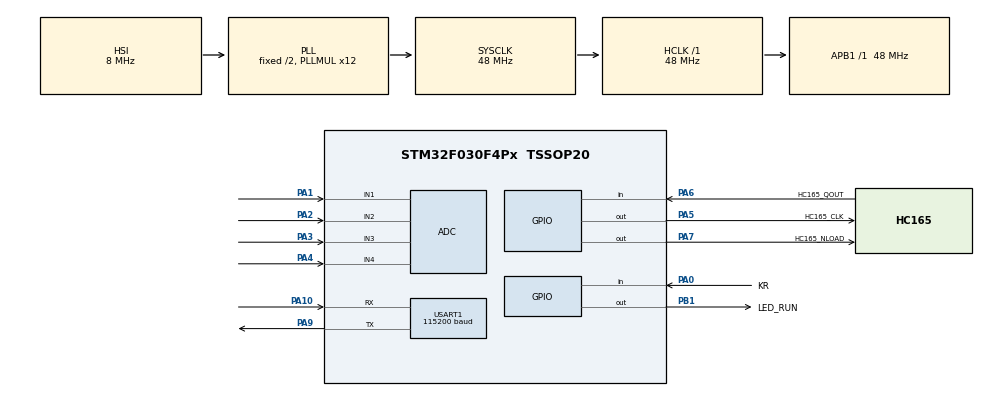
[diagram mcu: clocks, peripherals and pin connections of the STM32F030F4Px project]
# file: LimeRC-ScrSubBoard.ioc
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ADC.ContinuousConvMode=DISABLE
ADC.DMAContinuousRequests=ENABLE
ADC.EOCSelection=ADC_EOC_SEQ_CONV
ADC.SamplingTime=ADC_SAMPLETIME_239CYCLES_5
CRC.DefaultInitValueUse=DEFAULT_INIT_VALUE_DISABLE
CRC.InitValue=2023
Dma.ADC.1.Direction=DMA_PERIPH_TO_MEMORY
Dma.ADC.1.Instance=DMA1_Channel1
Dma.ADC.1.MemDataAlignment=DMA_MDATAALIGN_HALFWORD
Dma.ADC.1.MemInc=DMA_MINC_ENABLE
Dma.ADC.1.Mode=DMA_NORMAL
Dma.ADC.1.PeriphDataAlignment=DMA_PDATAALIGN_HALFWORD
Dma.ADC.1.PeriphInc=DMA_PINC_DISABLE
Dma.ADC.1.Priority=DMA_PRIORITY_HIGH
Dma.Request0=USART1_TX
Dma.Request1=ADC
Dma.USART1_TX.0.Direction=DMA_MEMORY_TO_PERIPH
Dma.USART1_TX.0.Instance=DMA1_Channel2
Dma.USART1_TX.0.MemDataAlignment=DMA_MDATAALIGN_BYTE
Dma.USART1_TX.0.MemInc=DMA_MINC_ENABLE
Dma.USART1_TX.0.Mode=DMA_NORMAL
Dma.USART1_TX.0.PeriphDataAlignment=DMA_PDATAALIGN_BYTE
Dma.USART1_TX.0.PeriphInc=DMA_PINC_DISABLE
Dma.USART1_TX.0.Priority=DMA_PRIORITY_LOW
Mcu.Family=STM32F0
Mcu.Name=STM32F030F4Px
Mcu.Package=TSSOP20
NVIC.DMA1_Channel1_IRQn=true\:2\:0\:true\:false\:true\:false\:true\:true
NVIC.DMA1_Channel2_3_IRQn=true\:0\:0\:false\:false\:true\:false\:true\:true
NVIC.USART1_IRQn=true\:1\:0\:true\:false\:true\:false\:true\:true
PA0.GPIO_Label=KR
PA0.GPIO_PuPd=GPIO_PULLUP
PA0.Signal=GPIO_Input
PA1.Mode=IN1
PA1.Signal=ADC_IN1
PA10.Mode=Asynchronous
PA10.Signal=USART1_RX
PA13.Mode=Serial_Wire
PA13.Signal=SYS_SWDIO
PA14.Mode=Serial_Wire
PA14.Signal=SYS_SWCLK
PA2.Mode=IN2
PA2.Signal=ADC_IN2
PA3.Mode=IN3
PA3.Signal=ADC_IN3
PA4.Mode=IN4
PA4.Signal=ADC_IN4
PA5.GPIO_Label=HC165_CLK
PA5.Signal=GPIO_Output
PA6.GPIO_Label=HC165_QOUT
PA6.GPIO_PuPd=GPIO_PULLDOWN
PA6.Signal=GPIO_Input
PA7.GPIO_Label=HC165_NLOAD
PA7.GPIO_Speed=GPIO_SPEED_FREQ_HIGH
PA7.PinState=GPIO_PIN_SET
PA7.Signal=GPIO_Output
PA9.Mode=Asynchronous
PA9.Signal=USART1_TX
PB1.GPIO_Label=LED_RUN
PB1.Signal=GPIO_Output
PF0-OSC_IN.Mode=HSE-External-Oscillator
PF0-OSC_IN.Signal=RCC_OSC_IN
PF1-OSC_OUT.Mode=HSE-External-Oscillator
PF1-OSC_OUT.Signal=RCC_OSC_OUT
ProjectManager.HeapSize=0x200
ProjectManager.StackSize=0x400
ProjectManager.TargetToolchain=MDK-ARM V5.32
RCC.AHBFreq_Value=48000000
RCC.APB1Freq_Value=48000000
RCC.APB1TimFreq_Value=48000000
RCC.HCLKFreq_Value=48000000
RCC.HSE_VALUE=25000000
RCC.PLLDivider=RCC_PREDIV_DIV5
RCC.PLLMUL=RCC_PLL_MUL12
RCC.SYSCLKFreq_VALUE=48000000
RCC.SYSCLKSource=RCC_SYSCLKSOURCE_PLLCLK
USART1.BaudRate=115200
USART1.VirtualMode-Asynchronous=VM_ASYNC
VP_CRC_VS_CRC.Mode=CRC_Activate
board=custom

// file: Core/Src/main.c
/* USER CODE BEGIN Header */
/**
  ******************************************************************************
  * @file           : main.c
  * @brief          : Main program body
  ******************************************************************************
  * @attention
  *
  * Copyright (c) 2025 STMicroelectronics.
  * All rights reserved.
  *
  * This software is licensed under terms that can be found in the LICENSE file
  * in the root directory of this software component.
  * If no LICENSE file comes with this software, it is provided AS-IS.
  *
  ******************************************************************************
  */
/* USER CODE END Header */
#include "main.h"
#include "adc.h"
#include "crc.h"
#include "dma.h"
#include "usart.h"
#include "gpio.h"

/* USER CODE BEGIN Includes */
#include "uartSync.h"
#include "rocker.h"
#include "key.h"
/* USER CODE END Includes */

void SystemClock_Config(void);

int main(void)
{

  /* USER CODE BEGIN 1 */
	uint8_t hardwareVersion = 0;
  /* USER CODE END 1 */

  /* MCU Configuration--------------------------------------------------------*/

  /* Reset of all peripherals, Initializes the Flash interface and the Systick. */
  HAL_Init();

  /* Configure the system clock */
  SystemClock_Config();

  /* Initialize all configured peripherals */
  MX_GPIO_Init();
  MX_DMA_Init();
  MX_ADC_Init();
  MX_USART1_UART_Init();
  MX_CRC_Init();
  /* USER CODE BEGIN 2 */

	/* get hardware version */
	key_GetHardwareReversion(&KeyInfo, &hardwareVersion);

	//USER Add...

  /* USER CODE END 2 */

  /* Infinite loop */
  /* USER CODE BEGIN WHILE */
  while (1)
  {
	/* LED Togg */
	static uint32_t lastLEDToggleTime = 0;
	if(HAL_GetTick() - lastLEDToggleTime >= 100)
	{
		lastLEDToggleTime = HAL_GetTick();
		HAL_GPIO_TogglePin(LED_RUN_GPIO_Port, LED_RUN_Pin);
	}

	/* Key Scan */
	static uint32_t lastScanKeyTime = 2;
	if(HAL_GetTick() - lastScanKeyTime >= 5)
	{
		lastScanKeyTime = HAL_GetTick();
		key_ScanHandle();
	}

	/* Rocker Scan */
	static uint32_t lastRockerScanTime = 1;
	if(HAL_GetTick() - lastRockerScanTime >= 2)
	{
		lastRockerScanTime = HAL_GetTick();
		rocker_run_Handle();
	}

	/* Uart Sync Data */
	static uint32_t lastUartSendTime = 3;
	if(HAL_GetTick() - lastUartSendTime >= 10)
	{
		if(uartSync_Handle(&KeyInfo, rocker_get_res_buf()) == HAL_OK)
		{
			lastUartSendTime = HAL_GetTick();
		}
	}

    /* USER CODE END WHILE */

  }
}

void SystemClock_Config(void)
{
  RCC_OscInitTypeDef RCC_OscInitStruct = {0};
  RCC_ClkInitTypeDef RCC_ClkInitStruct = {0};
  RCC_PeriphCLKInitTypeDef PeriphClkInit = {0};

  /** Initializes the RCC Oscillators according to the specified parameters
  * in the RCC_OscInitTypeDef structure.
  */
  RCC_OscInitStruct.OscillatorType = RCC_OSCILLATORTYPE_HSI|RCC_OSCILLATORTYPE_HSI14;
  RCC_OscInitStruct.HSIState = RCC_HSI_ON;
  RCC_OscInitStruct.HSI14State = RCC_HSI14_ON;
  RCC_OscInitStruct.HSICalibrationValue = RCC_HSICALIBRATION_DEFAULT;
  RCC_OscInitStruct.HSI14CalibrationValue = 16;
  RCC_OscInitStruct.PLL.PLLState = RCC_PLL_ON;
  RCC_OscInitStruct.PLL.PLLSource = RCC_PLLSOURCE_HSI;
  RCC_OscInitStruct.PLL.PLLMUL = RCC_PLL_MUL12;
  RCC_OscInitStruct.PLL.PREDIV = RCC_PREDIV_DIV5;
  if (HAL_RCC_OscConfig(&RCC_OscInitStruct) != HAL_OK)
  {
    Error_Handler();
  }

  /** Initializes the CPU, AHB and APB buses clocks
  */
  RCC_ClkInitStruct.ClockType = RCC_CLOCKTYPE_HCLK|RCC_CLOCKTYPE_SYSCLK
                              |RCC_CLOCKTYPE_PCLK1;
  RCC_ClkInitStruct.SYSCLKSource = RCC_SYSCLKSOURCE_PLLCLK;
  RCC_ClkInitStruct.AHBCLKDivider = RCC_SYSCLK_DIV1;
  RCC_ClkInitStruct.APB1CLKDivider = RCC_HCLK_DIV1;

  if (HAL_RCC_ClockConfig(&RCC_ClkInitStruct, FLASH_LATENCY_1) != HAL_OK)
  {
    Error_Handler();
  }
  PeriphClkInit.PeriphClockSelection = RCC_PERIPHCLK_USART1;
  PeriphClkInit.Usart1ClockSelection = RCC_USART1CLKSOURCE_PCLK1;
  if (HAL_RCCEx_PeriphCLKConfig(&PeriphClkInit) != HAL_OK)
  {
    Error_Handler();
  }
}

void Error_Handler(void)
{
  __disable_irq();
  while (1)
  {
  }
}
